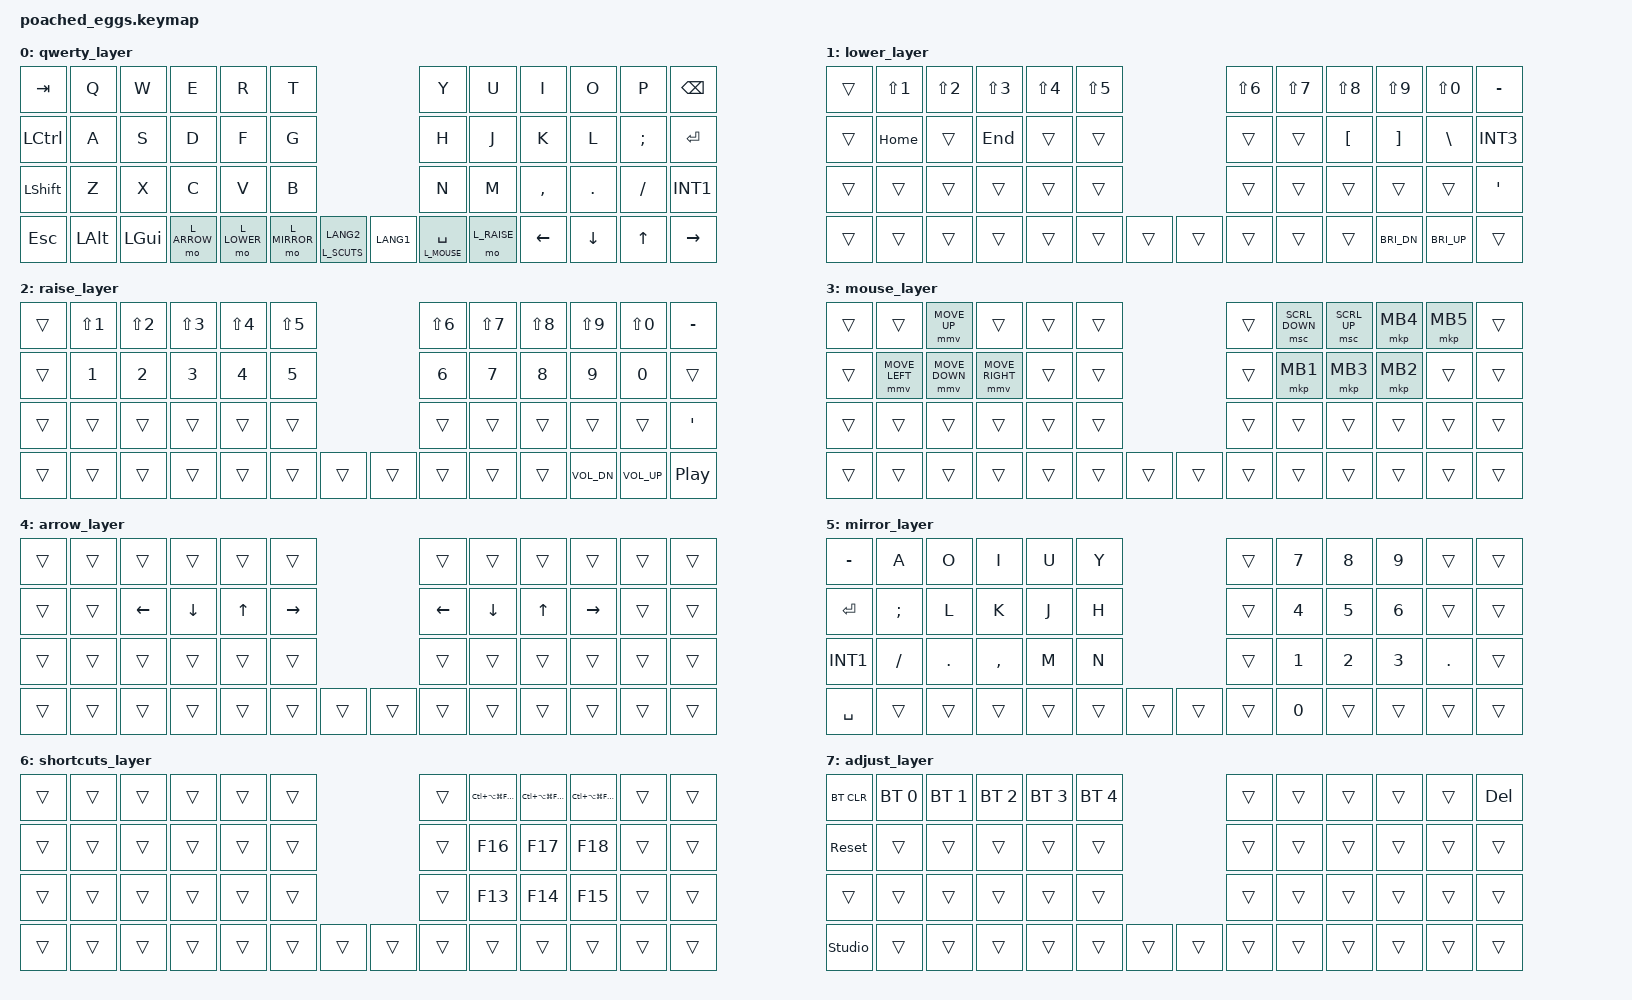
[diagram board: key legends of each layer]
#include <behaviors.dtsi>
#include <dt-bindings/zmk/keys.h>
#include <dt-bindings/zmk/bt.h>
#include <dt-bindings/zmk/mouse.h>

#define L_QWERTY 0
#define L_LOWER 1
#define L_RAISE 2
#define L_MOUSE 3
#define L_ARROW 4
#define L_MIRROR 5
#define L_SCUTS 6
#define L_ADJUST 7

#define JA_CLON SINGLE_QUOTE  // : and +
#define JA_AT   LEFT_BRACKET  // @ and `
#define JA_HAT  EQUAL   // ^ and ~
#define JA_ENUN INT1  // \ and _ (EN mark and UNder score)
#define JA_ENVL INT3  // \ and | (EN mark and Vertical Line)
#define JA_LBRC RIGHT_BRACKET  // [ and {
#define JA_RBRC BACKSLASH  // ] and }

/ {
    conditional_layers {
        compatible = "zmk,conditional-layers";
        tri_layer {
            if-layers = <L_LOWER L_RAISE>;
            then-layer = <L_ADJUST>;
        };
    };

    keymap {
        compatible = "zmk,keymap";

        qwerty_layer {
            bindings = <
                &kp TAB           &kp Q             &kp W             &kp E             &kp R             &kp T                                                 &kp Y             &kp U             &kp I             &kp O             &kp P             &kp BSPC
                &kp LCTRL         &kp A             &kp S             &kp D             &kp F             &kp G                                                 &kp H             &kp J             &kp K             &kp L             &kp SEMI          &kp RET
                &kp LSHFT         &kp Z             &kp X             &kp C             &kp V             &kp B                                                 &kp N             &kp M             &kp COMMA         &kp DOT           &kp FSLH          &kp JA_ENUN
                &kp ESC           &kp LALT          &kp LGUI          &mo L_ARROW       &mo L_LOWER       &mo L_MIRROR      &lt L_SCUTS LANG2 &kp LANG1         &lt L_MOUSE SPACE &mo L_RAISE       &kp LEFT          &kp DOWN          &kp UP            &kp RIGHT
            >;
        };

        lower_layer {
            bindings = <
                &trans            &kp LS(N1)        &kp LS(N2)        &kp LS(N3)        &kp LS(N4)        &kp LS(N5)                                            &kp LS(N6)        &kp LS(N7)        &kp LS(N8)        &kp LS(N9)        &kp LS(N0)        &kp MINUS
                &trans            &kp HOME          &trans            &kp END           &trans            &trans                                                &trans            &trans            &kp JA_AT         &kp JA_LBRC       &kp JA_RBRC       &kp JA_ENVL
                &trans            &trans            &trans            &trans            &trans            &trans                                                &trans            &trans            &trans            &trans            &trans            &kp JA_CLON
                &trans            &trans            &trans            &trans            &trans            &trans            &trans            &trans            &trans            &trans            &trans            &kp C_BRI_DN      &kp C_BRI_UP      &trans
            >;
        };

        raise_layer {
            bindings = <
                &trans            &kp LS(N1)        &kp LS(N2)        &kp LS(N3)        &kp LS(N4)        &kp LS(N5)                                            &kp LS(N6)        &kp LS(N7)        &kp LS(N8)        &kp LS(N9)        &kp LS(N0)        &kp MINUS
                &trans            &kp N1            &kp N2            &kp N3            &kp N4            &kp N5                                                &kp N6            &kp N7            &kp N8            &kp N9            &kp N0            &trans
                &trans            &trans            &trans            &trans            &trans            &trans                                                &trans            &trans            &trans            &trans            &trans            &kp JA_CLON
                &trans            &trans            &trans            &trans            &trans            &trans            &trans            &trans            &trans            &trans            &trans            &kp C_VOL_DN      &kp C_VOL_UP      &kp C_PP
            >;
        };

        mouse_layer {
            bindings = <
                &trans            &trans            &mmv MOVE_UP      &trans            &trans            &trans                                                &trans            &msc SCRL_DOWN    &msc SCRL_UP      &mkp MB4          &mkp MB5          &trans
                &trans            &mmv MOVE_LEFT    &mmv MOVE_DOWN    &mmv MOVE_RIGHT   &trans            &trans                                                &trans            &mkp MB1          &mkp MB3          &mkp MB2          &trans            &trans
                &trans            &trans            &trans            &trans            &trans            &trans                                                &trans            &trans            &trans            &trans            &trans            &trans
                &trans            &trans            &trans            &trans            &trans            &trans            &trans            &trans            &trans            &trans            &trans            &trans            &trans            &trans
            >;
        };

        arrow_layer {
            bindings = <
                &trans            &trans            &trans            &trans            &trans            &trans                                                &trans            &trans            &trans            &trans            &trans            &trans
                &trans            &trans            &kp LEFT          &kp DOWN          &kp UP            &kp RIGHT                                             &kp LEFT          &kp DOWN          &kp UP            &kp RIGHT         &trans            &trans
                &trans            &trans            &trans            &trans            &trans            &trans                                                &trans            &trans            &trans            &trans            &trans            &trans
                &trans            &trans            &trans            &trans            &trans            &trans            &trans            &trans            &trans            &trans            &trans            &trans            &trans            &trans
            >;
        };

        mirror_layer {
            bindings = <
                &kp MINUS         &kp A             &kp O             &kp I             &kp U             &kp Y                                                 &trans            &kp N7            &kp N8            &kp N9            &trans            &trans
                &kp RET           &kp SEMI          &kp L             &kp K             &kp J             &kp H                                                 &trans            &kp N4            &kp N5            &kp N6            &trans            &trans
                &kp JA_ENUN       &kp FSLH          &kp DOT           &kp COMMA         &kp M             &kp N                                                 &trans            &kp N1            &kp N2            &kp N3            &kp DOT           &trans
                &kp SPACE         &trans            &trans            &trans            &trans            &trans            &trans            &trans            &trans            &kp N0            &trans            &trans            &trans            &trans
            >;
        };

        shortcuts_layer {
            bindings = <
                &trans            &trans            &trans            &trans            &trans            &trans                                                &trans            &kp LC(LA(LG(F13))) &kp LC(LA(LG(F14))) &kp LC(LA(LG(F15))) &trans      &trans
                &trans            &trans            &trans            &trans            &trans            &trans                                                &trans            &kp F16           &kp F17           &kp F18           &trans            &trans
                &trans            &trans            &trans            &trans            &trans            &trans                                                &trans            &kp F13           &kp F14           &kp F15           &trans            &trans
                &trans            &trans            &trans            &trans            &trans            &trans            &trans            &trans            &trans            &trans            &trans            &trans            &trans            &trans
            >;
        };

        adjust_layer {
            bindings = <
                &bt BT_CLR        &bt BT_SEL 0      &bt BT_SEL 1      &bt BT_SEL 2      &bt BT_SEL 3      &bt BT_SEL 4                                          &trans            &trans            &trans            &trans            &trans            &kp DEL
                &sys_reset        &trans            &trans            &trans            &trans            &trans                                                &trans            &trans            &trans            &trans            &trans            &trans
                &trans            &trans            &trans            &trans            &trans            &trans                                                &trans            &trans            &trans            &trans            &trans            &trans
                &studio_unlock    &trans            &trans            &trans            &trans            &trans            &trans            &trans            &trans            &trans            &trans            &trans            &trans            &trans
            >;
        };
    };
};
